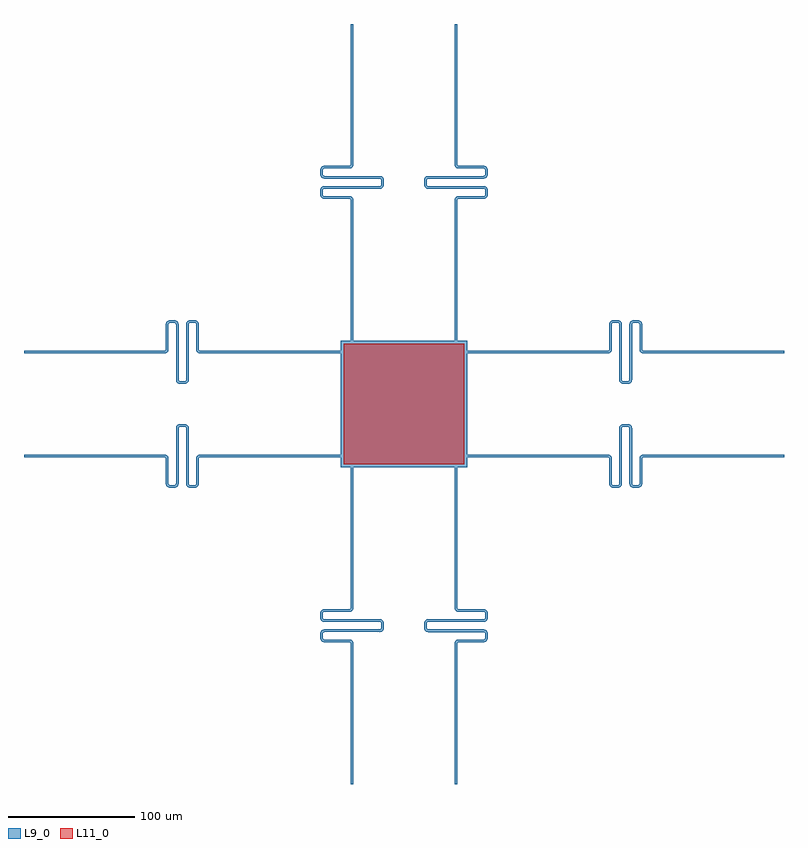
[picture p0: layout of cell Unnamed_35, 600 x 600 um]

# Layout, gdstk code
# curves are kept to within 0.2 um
from math import pi, radians
import gdstk
lib = gdstk.Library(unit=1e-6, precision=1e-09)
def R(c, l, rs):  # rectangles x0, y0, x1, y1
    for r in rs: c.add(gdstk.rectangle(r[:2], r[2:], *l))
def P(c, l, *ps):  # polygons
    for p in ps: c.add(gdstk.Polygon(p, *l))
L9_0 = (9, 0)
L11_0 = (11, 0)

rectangle_s95_95_l11_0__ = lib.new_cell('rectangle_S95_95_L11_0__3836f13c')
R(rectangle_s95_95_l11_0__, L11_0, [(0,0,95,95)])

unnamed_43 = lib.new_cell('Unnamed_43')
P(unnamed_43, L9_0, [(122.964,-25),(121.034,-24.269),(120.028,-22.427),(120,21.964),(119.754,22.653),(119.142,22.987),(114.858,22.987),(114.043,22.281),(113.972,1.573),(113.269,0.034),(111.427,-0.972),(0,-1),(0,1),(111.281,1.043),(111.839,1.461),(112,2.036),(112.028,22.427),(112.731,23.966),(114.573,24.972),(119.846,24.881),(121.269,23.966),(121.972,22.427),(122,-21.964),(122.246,-22.653),(122.858,-22.987),(127.142,-22.987),(127.987,-22.142),(128,22.036),(128.731,23.966),(130.573,24.972),(135.846,24.881),(136.966,24.269),(137.881,22.846),(138,2.036),(138.246,1.347),(138.858,1.013),(250,1),(250,-1),(138.573,-0.972),(137.034,-0.269),(136.028,1.573),(135.957,22.281),(135.142,22.987),(130.858,22.987),(130.246,22.653),(130,21.964),(129.972,-22.427),(129.269,-23.966),(127.846,-24.881)])

unnamed_40 = lib.new_cell('Unnamed_40')
unnamed_40.add(gdstk.Reference(unnamed_43, (0,0), rotation=pi/2))

unnamed_41 = lib.new_cell('Unnamed_41')
unnamed_41.add(gdstk.Reference(unnamed_40, (41,-300), rotation=pi, x_reflection=True))
unnamed_41.add(gdstk.Reference(unnamed_40, (-41,-300)))

rectangle_s100_100_l9_0_ = lib.new_cell('rectangle_S100_100_L9_0_112211a6')
R(rectangle_s100_100_l9_0_, L9_0, [(0,0,100,100)])

unnamed_35 = lib.new_cell('Unnamed_35')
unnamed_35.add(gdstk.Reference(rectangle_s95_95_l11_0__, (-47.5,-47.5)))
unnamed_35.add(gdstk.Reference(unnamed_41, (0,0), x_reflection=True))
unnamed_35.add(gdstk.Reference(unnamed_41, (0,0), rotation=pi/2))
unnamed_35.add(gdstk.Reference(unnamed_41, (0,0), rotation=3*pi/2))
unnamed_35.add(gdstk.Reference(rectangle_s100_100_l9_0_, (-50,-50)))
unnamed_35.add(gdstk.Reference(unnamed_41, (0,0)))

lib.write_gds('Unnamed_35.gds')
